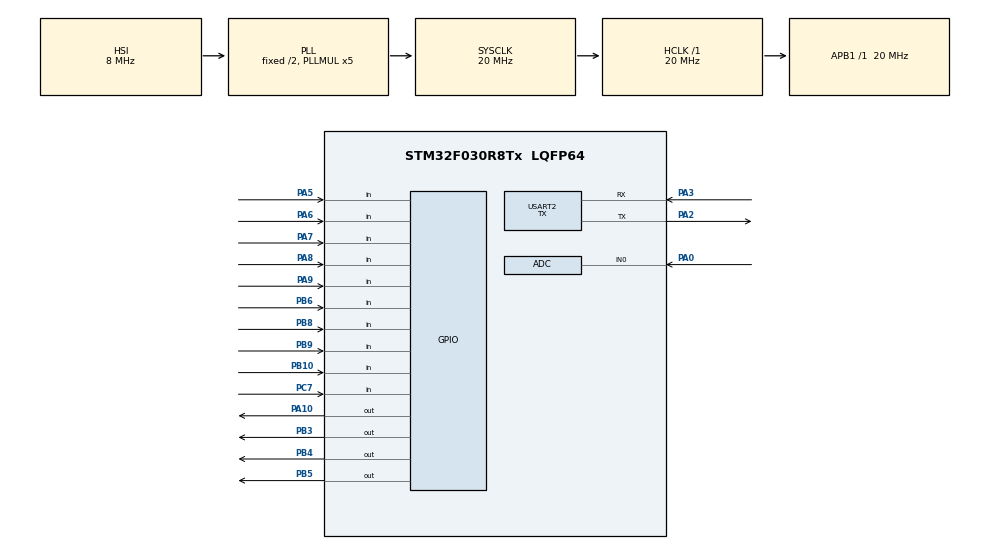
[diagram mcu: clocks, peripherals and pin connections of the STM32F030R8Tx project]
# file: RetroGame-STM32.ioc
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Mcu.Family=STM32F0
Mcu.Name=STM32F030R8Tx
Mcu.Package=LQFP64
PA0.Mode=IN0
PA0.Signal=ADC_IN0
PA10.Signal=GPIO_Output
PA2.Mode=Asynchronous
PA2.Signal=USART2_TX
PA3.Mode=Asynchronous
PA3.Signal=USART2_RX
PA5.GPIO_PuPd=GPIO_PULLDOWN
PA5.Signal=GPIO_Input
PA6.GPIO_PuPd=GPIO_PULLDOWN
PA6.Signal=GPIO_Input
PA7.GPIO_PuPd=GPIO_PULLDOWN
PA7.Signal=GPIO_Input
PA8.GPIO_PuPd=GPIO_PULLDOWN
PA8.Signal=GPIO_Input
PA9.GPIO_PuPd=GPIO_PULLDOWN
PA9.Signal=GPIO_Input
PB10.GPIO_PuPd=GPIO_PULLDOWN
PB10.Signal=GPIO_Input
PB3.GPIO_Speed=GPIO_SPEED_FREQ_MEDIUM
PB3.Signal=GPIO_Output
PB4.Signal=GPIO_Output
PB5.GPIO_Speed=GPIO_SPEED_FREQ_MEDIUM
PB5.Signal=GPIO_Output
PB6.GPIO_PuPd=GPIO_PULLDOWN
PB6.Signal=GPIO_Input
PB8.GPIO_PuPd=GPIO_PULLDOWN
PB8.Signal=GPIO_Input
PB9.GPIO_PuPd=GPIO_PULLDOWN
PB9.Signal=GPIO_Input
PC7.GPIO_PuPd=GPIO_PULLDOWN
PC7.Signal=GPIO_Input
ProjectManager.HeapSize=0x200
ProjectManager.StackSize=0x400
ProjectManager.TargetToolchain=STM32CubeIDE
RCC.AHBFreq_Value=20000000
RCC.APB1Freq_Value=20000000
RCC.APB1TimFreq_Value=20000000
RCC.HCLKFreq_Value=20000000
RCC.PLLMUL=RCC_PLL_MUL5
RCC.SYSCLKFreq_VALUE=20000000
RCC.SYSCLKSource=RCC_SYSCLKSOURCE_PLLCLK
TIM16.Prescaler=19999
TIM17.Prescaler=19999
TIM6.Prescaler=19999
USART2.Mode=MODE_TX
USART2.VirtualMode-Asynchronous=VM_ASYNC
VP_TIM16_VS_ClockSourceINT.Mode=Enable_Timer
VP_TIM17_VS_ClockSourceINT.Mode=Enable_Timer
VP_TIM6_VS_ClockSourceINT.Mode=Enable_Timer
board=custom

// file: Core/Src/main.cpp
/* USER CODE BEGIN Header */
/**
  ******************************************************************************
  * @file           : main.c
  * @brief          : Main program body
  ******************************************************************************
  * @attention
  *
  * <h2><center>&copy; Copyright (c) 2022 STMicroelectronics.
  * All rights reserved.</center></h2>
  *
  * This software component is licensed by ST under BSD 3-Clause license,
  * the "License"; You may not use this file except in compliance with the
  * License. You may obtain a copy of the License at:
  *                        opensource.org/licenses/BSD-3-Clause
  *
  ******************************************************************************
  */
/* USER CODE END Header */
#include "main.h"

/* USER CODE BEGIN Includes */

#include <Engine/engine.h>

/* USER CODE END Includes */

 ADC_HandleTypeDef hadc;

TIM_HandleTypeDef htim6;
TIM_HandleTypeDef htim16;
TIM_HandleTypeDef htim17;

UART_HandleTypeDef huart2;

void SystemClock_Config(void);
static void MX_GPIO_Init(void);
static void MX_TIM16_Init(void);
static void MX_TIM17_Init(void);
static void MX_USART2_UART_Init(void);
static void MX_TIM6_Init(void);
static void MX_ADC_Init(void);

int main(void)
{
  /* USER CODE BEGIN 1 */

  uint32_t rand_seed = 0;

  /* USER CODE END 1 */

  /* MCU Configuration--------------------------------------------------------*/

  /* Reset of all peripherals, Initializes the Flash interface and the Systick. */
  HAL_Init();

  /* Configure the system clock */
  SystemClock_Config();

  /* Initialize all configured peripherals */
  MX_GPIO_Init();
  MX_TIM16_Init();
  MX_TIM17_Init();
  MX_USART2_UART_Init();
  MX_TIM6_Init();
  MX_ADC_Init();
  /* USER CODE BEGIN 2 */

  HAL_TIM_Base_Start(&htim6);
  HAL_TIM_Base_Start(&htim16);
  HAL_TIM_Base_Start(&htim17);

  /* USER CODE END 2 */

  /* Infinite loop */
  /* USER CODE BEGIN WHILE */

  /// Produce seed for randomiser
  HAL_ADC_Start_IT(&hadc);
  for (int i = 0; i < 4000; i++) {}
  rand_seed = HAL_ADC_GetValue(&hadc);

  HAL_ADC_Stop_IT(&hadc);

  char str1[20];
  sprintf(str1, "Seed: %d", rand_seed);
  debugPrintln( str1 );
  ///////////////////////////////

  Engine engine(&htim16, &htim17, &htim6, rand_seed);

  HAL_GPIO_WritePin(GPIOB, GPIO_PIN_3, GPIO_PIN_SET);

  while (1)
  {
	  engine.gameLoop();
    /* USER CODE END WHILE */

  }
}

void SystemClock_Config(void)
{
  RCC_OscInitTypeDef RCC_OscInitStruct = {0};
  RCC_ClkInitTypeDef RCC_ClkInitStruct = {0};

  /** Initializes the RCC Oscillators according to the specified parameters
  * in the RCC_OscInitTypeDef structure.
  */
  RCC_OscInitStruct.OscillatorType = RCC_OSCILLATORTYPE_HSI|RCC_OSCILLATORTYPE_HSI14;
  RCC_OscInitStruct.HSIState = RCC_HSI_ON;
  RCC_OscInitStruct.HSI14State = RCC_HSI14_ON;
  RCC_OscInitStruct.HSICalibrationValue = RCC_HSICALIBRATION_DEFAULT;
  RCC_OscInitStruct.HSI14CalibrationValue = 16;
  RCC_OscInitStruct.PLL.PLLState = RCC_PLL_ON;
  RCC_OscInitStruct.PLL.PLLSource = RCC_PLLSOURCE_HSI;
  RCC_OscInitStruct.PLL.PLLMUL = RCC_PLL_MUL5;
  RCC_OscInitStruct.PLL.PREDIV = RCC_PREDIV_DIV1;
  if (HAL_RCC_OscConfig(&RCC_OscInitStruct) != HAL_OK)
  {
    Error_Handler();
  }

  /** Initializes the CPU, AHB and APB buses clocks
  */
  RCC_ClkInitStruct.ClockType = RCC_CLOCKTYPE_HCLK|RCC_CLOCKTYPE_SYSCLK
                              |RCC_CLOCKTYPE_PCLK1;
  RCC_ClkInitStruct.SYSCLKSource = RCC_SYSCLKSOURCE_PLLCLK;
  RCC_ClkInitStruct.AHBCLKDivider = RCC_SYSCLK_DIV1;
  RCC_ClkInitStruct.APB1CLKDivider = RCC_HCLK_DIV1;

  if (HAL_RCC_ClockConfig(&RCC_ClkInitStruct, FLASH_LATENCY_0) != HAL_OK)
  {
    Error_Handler();
  }
}

static void MX_ADC_Init(void)
{

  ADC_ChannelConfTypeDef sConfig = {0};

  /** Configure the global features of the ADC (Clock, Resolution, Data Alignment and number of conversion)
  */
  hadc.Instance = ADC1;
  hadc.Init.ClockPrescaler = ADC_CLOCK_ASYNC_DIV1;
  hadc.Init.Resolution = ADC_RESOLUTION_12B;
  hadc.Init.DataAlign = ADC_DATAALIGN_RIGHT;
  hadc.Init.ScanConvMode = ADC_SCAN_DIRECTION_FORWARD;
  hadc.Init.EOCSelection = ADC_EOC_SINGLE_CONV;
  hadc.Init.LowPowerAutoWait = DISABLE;
  hadc.Init.LowPowerAutoPowerOff = DISABLE;
  hadc.Init.ContinuousConvMode = DISABLE;
  hadc.Init.DiscontinuousConvMode = DISABLE;
  hadc.Init.ExternalTrigConv = ADC_SOFTWARE_START;
  hadc.Init.ExternalTrigConvEdge = ADC_EXTERNALTRIGCONVEDGE_NONE;
  hadc.Init.DMAContinuousRequests = DISABLE;
  hadc.Init.Overrun = ADC_OVR_DATA_PRESERVED;
  if (HAL_ADC_Init(&hadc) != HAL_OK)
  {
    Error_Handler();
  }

  /** Configure for the selected ADC regular channel to be converted.
  */
  sConfig.Channel = ADC_CHANNEL_0;
  sConfig.Rank = ADC_RANK_CHANNEL_NUMBER;
  sConfig.SamplingTime = ADC_SAMPLETIME_1CYCLE_5;
  if (HAL_ADC_ConfigChannel(&hadc, &sConfig) != HAL_OK)
  {
    Error_Handler();
  }

}

static void MX_TIM6_Init(void)
{

  htim6.Instance = TIM6;
  htim6.Init.Prescaler = 19999;
  htim6.Init.CounterMode = TIM_COUNTERMODE_UP;
  htim6.Init.Period = 65535;
  htim6.Init.AutoReloadPreload = TIM_AUTORELOAD_PRELOAD_DISABLE;
  if (HAL_TIM_Base_Init(&htim6) != HAL_OK)
  {
    Error_Handler();
  }

}

static void MX_TIM16_Init(void)
{

  htim16.Instance = TIM16;
  htim16.Init.Prescaler = 19999;
  htim16.Init.CounterMode = TIM_COUNTERMODE_UP;
  htim16.Init.Period = 65535;
  htim16.Init.ClockDivision = TIM_CLOCKDIVISION_DIV1;
  htim16.Init.RepetitionCounter = 0;
  htim16.Init.AutoReloadPreload = TIM_AUTORELOAD_PRELOAD_DISABLE;
  if (HAL_TIM_Base_Init(&htim16) != HAL_OK)
  {
    Error_Handler();
  }

}

static void MX_TIM17_Init(void)
{

  htim17.Instance = TIM17;
  htim17.Init.Prescaler = 19999;
  htim17.Init.CounterMode = TIM_COUNTERMODE_UP;
  htim17.Init.Period = 65535;
  htim17.Init.ClockDivision = TIM_CLOCKDIVISION_DIV1;
  htim17.Init.RepetitionCounter = 0;
  htim17.Init.AutoReloadPreload = TIM_AUTORELOAD_PRELOAD_DISABLE;
  if (HAL_TIM_Base_Init(&htim17) != HAL_OK)
  {
    Error_Handler();
  }

}

static void MX_USART2_UART_Init(void)
{

  huart2.Instance = USART2;
  huart2.Init.BaudRate = 38400;
  huart2.Init.WordLength = UART_WORDLENGTH_8B;
  huart2.Init.StopBits = UART_STOPBITS_1;
  huart2.Init.Parity = UART_PARITY_NONE;
  huart2.Init.Mode = UART_MODE_TX;
  huart2.Init.HwFlowCtl = UART_HWCONTROL_NONE;
  huart2.Init.OverSampling = UART_OVERSAMPLING_16;
  huart2.Init.OneBitSampling = UART_ONE_BIT_SAMPLE_DISABLE;
  huart2.AdvancedInit.AdvFeatureInit = UART_ADVFEATURE_NO_INIT;
  if (HAL_UART_Init(&huart2) != HAL_OK)
  {
    Error_Handler();
  }

}

static void MX_GPIO_Init(void)
{
  GPIO_InitTypeDef GPIO_InitStruct = {0};

  /* GPIO Ports Clock Enable */
  __HAL_RCC_GPIOA_CLK_ENABLE();
  __HAL_RCC_GPIOB_CLK_ENABLE();
  __HAL_RCC_GPIOC_CLK_ENABLE();

  /*Configure GPIO pin Output Level */
  HAL_GPIO_WritePin(GPIOA, GPIO_PIN_10, GPIO_PIN_RESET);

  /*Configure GPIO pin Output Level */
  HAL_GPIO_WritePin(GPIOB, GPIO_PIN_3|GPIO_PIN_4|GPIO_PIN_5, GPIO_PIN_RESET);

  /*Configure GPIO pins : PA5 PA6 PA7 PA8
                           PA9 */
  GPIO_InitStruct.Pin = GPIO_PIN_5|GPIO_PIN_6|GPIO_PIN_7|GPIO_PIN_8
                          |GPIO_PIN_9;
  GPIO_InitStruct.Mode = GPIO_MODE_INPUT;
  GPIO_InitStruct.Pull = GPIO_PULLDOWN;
  HAL_GPIO_Init(GPIOA, &GPIO_InitStruct);

  /*Configure GPIO pins : PB10 PB6 PB8 PB9 */
  GPIO_InitStruct.Pin = GPIO_PIN_10|GPIO_PIN_6|GPIO_PIN_8|GPIO_PIN_9;
  GPIO_InitStruct.Mode = GPIO_MODE_INPUT;
  GPIO_InitStruct.Pull = GPIO_PULLDOWN;
  HAL_GPIO_Init(GPIOB, &GPIO_InitStruct);

  /*Configure GPIO pin : PC7 */
  GPIO_InitStruct.Pin = GPIO_PIN_7;
  GPIO_InitStruct.Mode = GPIO_MODE_INPUT;
  GPIO_InitStruct.Pull = GPIO_PULLDOWN;
  HAL_GPIO_Init(GPIOC, &GPIO_InitStruct);

  /*Configure GPIO pin : PA10 */
  GPIO_InitStruct.Pin = GPIO_PIN_10;
  GPIO_InitStruct.Mode = GPIO_MODE_OUTPUT_PP;
  GPIO_InitStruct.Pull = GPIO_NOPULL;
  GPIO_InitStruct.Speed = GPIO_SPEED_FREQ_LOW;
  HAL_GPIO_Init(GPIOA, &GPIO_InitStruct);

  /*Configure GPIO pins : PB3 PB5 */
  GPIO_InitStruct.Pin = GPIO_PIN_3|GPIO_PIN_5;
  GPIO_InitStruct.Mode = GPIO_MODE_OUTPUT_PP;
  GPIO_InitStruct.Pull = GPIO_NOPULL;
  GPIO_InitStruct.Speed = GPIO_SPEED_FREQ_MEDIUM;
  HAL_GPIO_Init(GPIOB, &GPIO_InitStruct);

  /*Configure GPIO pin : PB4 */
  GPIO_InitStruct.Pin = GPIO_PIN_4;
  GPIO_InitStruct.Mode = GPIO_MODE_OUTPUT_PP;
  GPIO_InitStruct.Pull = GPIO_NOPULL;
  GPIO_InitStruct.Speed = GPIO_SPEED_FREQ_LOW;
  HAL_GPIO_Init(GPIOB, &GPIO_InitStruct);

}

void Error_Handler(void)
{
  __disable_irq();
  while (1)
  {
  }
}
